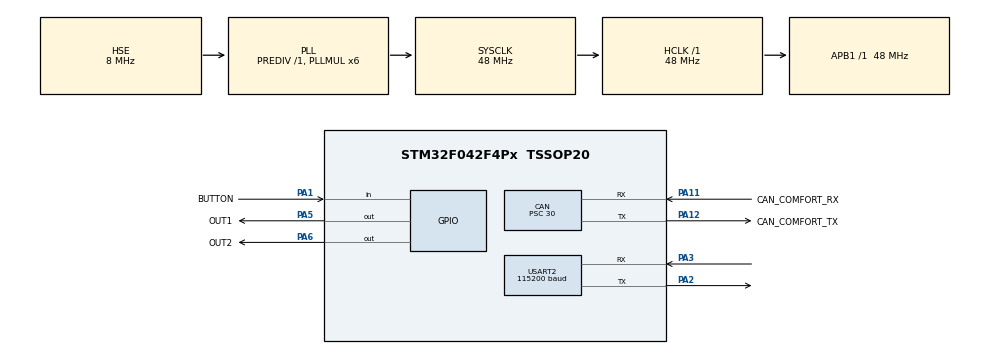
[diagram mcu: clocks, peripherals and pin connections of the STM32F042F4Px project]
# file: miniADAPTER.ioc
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CAN.BS1=CAN_BS1_13TQ
CAN.BS2=CAN_BS2_2TQ
CAN.AutoBusOff=ENABLE
CAN.CalculateBaudRate=100000
CAN.CalculateTimeBit=10000
CAN.CalculateTimeQuantum=625.0
CAN.Prescaler=30
Mcu.Family=STM32F0
Mcu.Name=STM32F042F4Px
Mcu.Package=TSSOP20
NVIC.CEC_CAN_IRQn=true\:0\:0\:false\:false\:true\:true\:true\:true
PA1.GPIO_Label=BUTTON
PA1.Signal=GPIO_Input
PA11.GPIO_Label=CAN_COMFORT_RX
PA11.Mode=CAN_Activate
PA11.Signal=CAN_RX
PA12.GPIO_Label=CAN_COMFORT_TX
PA12.Mode=CAN_Activate
PA12.Signal=CAN_TX
PA13.Mode=Serial_Wire
PA13.Signal=SYS_SWDIO
PA14.Mode=Serial_Wire
PA14.Signal=SYS_SWCLK
PA2.Mode=Asynchronous
PA2.Signal=USART2_TX
PA3.Mode=Asynchronous
PA3.Signal=USART2_RX
PA5.GPIO_Label=OUT1
PA5.Signal=GPIO_Output
PA6.GPIO_Label=OUT2
PA6.Signal=GPIO_Output
PF0-OSC_IN.Mode=HSE-External-Oscillator
PF0-OSC_IN.Signal=RCC_OSC_IN
PF1-OSC_OUT.Mode=HSE-External-Oscillator
PF1-OSC_OUT.Signal=RCC_OSC_OUT
ProjectManager.HeapSize=0x200
ProjectManager.StackSize=0x400
ProjectManager.TargetToolchain=STM32CubeIDE
RCC.AHBFreq_Value=48000000
RCC.APB1Freq_Value=48000000
RCC.APB1TimFreq_Value=48000000
RCC.HCLKFreq_Value=48000000
RCC.PLLMUL=RCC_PLL_MUL6
RCC.PLLSourceVirtual=RCC_PLLSOURCE_HSE
RCC.SYSCLKFreq_VALUE=48000000
RCC.SYSCLKSource=RCC_SYSCLKSOURCE_PLLCLK
USART2.BaudRate=115200
USART2.VirtualMode-Asynchronous=VM_ASYNC
VP_SYS_VS_PINREMAP.Mode=PINREMAP
board=custom

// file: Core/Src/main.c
/* USER CODE BEGIN Header */
/**
  ******************************************************************************
  * @file           : main.c
  * @brief          : Main program body
  ******************************************************************************
  * @attention
  *
  * Copyright (c) 2024 STMicroelectronics.
  * All rights reserved.
  *
  * This software is licensed under terms that can be found in the LICENSE file
  * in the root directory of this software component.
  * If no LICENSE file comes with this software, it is provided AS-IS.
  *
  ******************************************************************************
  */
/* USER CODE END Header */
#include "main.h"
#include "can.h"
#include "usart.h"
#include "gpio.h"

/* USER CODE BEGIN Includes */
#include "can_lowlevel_funcs.h"
#include "defines.h"
#include "log.h"
/* USER CODE END Includes */

/* USER CODE BEGIN PD */
#define   OUT2_ON   HAL_GPIO_WritePin(OUT2_GPIO_Port, OUT2_Pin, GPIO_PIN_SET)
#define   OUT2_OFF  HAL_GPIO_WritePin(OUT2_GPIO_Port, OUT2_Pin, GPIO_PIN_RESET)

/* USER CODE END PD */

/* USER CODE BEGIN PV */
CAN_RX_FRAME_t rx_frame = {0,};
CAN_TX_FRAME_t tx_frame = {0,};
static uint32_t led_last_toggle_ms;
static GPIO_PinState button_last_state = GPIO_PIN_SET;
/* USER CODE END PV */

void SystemClock_Config(void);

int main(void)
{

  /* MCU Configuration--------------------------------------------------------*/

  /* Reset of all peripherals, Initializes the Flash interface and the Systick. */
  HAL_Init();

  /* Configure the system clock */
  SystemClock_Config();

  /* Initialize all configured peripherals */
  MX_GPIO_Init();
  MX_USART2_UART_Init();
  MX_CAN_Init();
  /* USER CODE BEGIN 2 */

  logger_uart_no_dma("\r\n=== miniADAPTER CAN diagnostic ===\r\n");
  logger_uart_no_dma("UART: 115200 8N1 | CAN: PCLK/30/16TQ = 100 kbit/s\r\n");
  logger_uart_no_dma("Test frame: STD 0x6FE every 1000 ms\r\n");

  if (CAN_Diagnostic_LoopbackSelfTest(CANBUS_COMFORT) == HAL_OK)
  {
    logger_uart_no_dma("[CAN][SELFTEST] PASS - MCU CAN controller and software path work\r\n");
  }
  else
  {
    logger_uart_no_dma("[CAN][SELFTEST] FAIL - MCU clock/config/controller problem\r\n");
  }

  if (Set_Filter_CAN(CANBUS_COMFORT, CAN_RX_FIFO0, 0x2C1, 0x2C3, 0x5C1, 0x320, 0) != HAL_OK)
  {
    logger_uart_no_dma("[CAN][INIT] FILTER FAIL err=0x%08lX\r\n", (unsigned long)HAL_CAN_GetError(CANBUS_COMFORT));
    Error_Handler();
  }
  if (CAN_Diagnostic_Enable(CANBUS_COMFORT) != HAL_OK)
  {
    logger_uart_no_dma("[CAN][INIT] NOTIFICATION FAIL err=0x%08lX\r\n", (unsigned long)HAL_CAN_GetError(CANBUS_COMFORT));
    Error_Handler();
  }
  if (CAN_Start(CANBUS_COMFORT) != HAL_OK)
  {
    logger_uart_no_dma("[CAN][INIT] START FAIL err=0x%08lX\r\n", (unsigned long)HAL_CAN_GetError(CANBUS_COMFORT));
    Error_Handler();
  }
  logger_uart_no_dma("[CAN][INIT] OK state=%u BTR=0x%08lX\r\n",
                     (unsigned int)HAL_CAN_GetState(CANBUS_COMFORT),
                     (unsigned long)(CANBUS_COMFORT)->Instance->BTR);
  logger_uart_no_dma("Interpretation: SELFTEST PASS + repeated ACK error => check transceiver/wiring/termination/peer node\r\n");

  OUT2_OFF;
  HAL_Delay(500);

  /* USER CODE END 2 */

  /* Infinite loop */
  while (1)
  {

    /* USER CODE BEGIN 3 */

	if (CAN_Std_Data_receive(CANBUS_COMFORT, &rx_frame) == CAN_RX_READY)
	{
	  Logger_CAN_RX(YES, rx_frame);
	}

	CAN_Diagnostic_Task(CANBUS_COMFORT);

	if ((HAL_GetTick() - led_last_toggle_ms) >= 500U)
	{
	  HAL_GPIO_TogglePin(OUT2_GPIO_Port, OUT2_Pin);
	  led_last_toggle_ms = HAL_GetTick();
	}

	{
	  GPIO_PinState button_state = HAL_GPIO_ReadPin(BUTTON_GPIO_Port, BUTTON_Pin);
	  if (button_state != button_last_state)
	  {
		button_last_state = button_state;
		logger_uart_no_dma("[GPIO] BUTTON %s\r\n", button_state == GPIO_PIN_RESET ? "PRESSED" : "RELEASED");
	  }
	}
  }
  /* USER CODE END 3 */
}

void SystemClock_Config(void)
{
  RCC_OscInitTypeDef RCC_OscInitStruct = {0};
  RCC_ClkInitTypeDef RCC_ClkInitStruct = {0};

  /** Initializes the RCC Oscillators according to the specified parameters
  * in the RCC_OscInitTypeDef structure.
  */
  RCC_OscInitStruct.OscillatorType = RCC_OSCILLATORTYPE_HSE;
  RCC_OscInitStruct.HSEState = RCC_HSE_ON;
  RCC_OscInitStruct.PLL.PLLState = RCC_PLL_ON;
  RCC_OscInitStruct.PLL.PLLSource = RCC_PLLSOURCE_HSE;
  RCC_OscInitStruct.PLL.PLLMUL = RCC_PLL_MUL6;
  RCC_OscInitStruct.PLL.PREDIV = RCC_PREDIV_DIV1;
  if (HAL_RCC_OscConfig(&RCC_OscInitStruct) != HAL_OK)
  {
    Error_Handler();
  }

  /** Initializes the CPU, AHB and APB buses clocks
  */
  RCC_ClkInitStruct.ClockType = RCC_CLOCKTYPE_HCLK|RCC_CLOCKTYPE_SYSCLK
                              |RCC_CLOCKTYPE_PCLK1;
  RCC_ClkInitStruct.SYSCLKSource = RCC_SYSCLKSOURCE_PLLCLK;
  RCC_ClkInitStruct.AHBCLKDivider = RCC_SYSCLK_DIV1;
  RCC_ClkInitStruct.APB1CLKDivider = RCC_HCLK_DIV1;

  if (HAL_RCC_ClockConfig(&RCC_ClkInitStruct, FLASH_LATENCY_1) != HAL_OK)
  {
    Error_Handler();
  }
}

void Error_Handler(void)
{
  __disable_irq();
  while (1)
  {
  }
}
